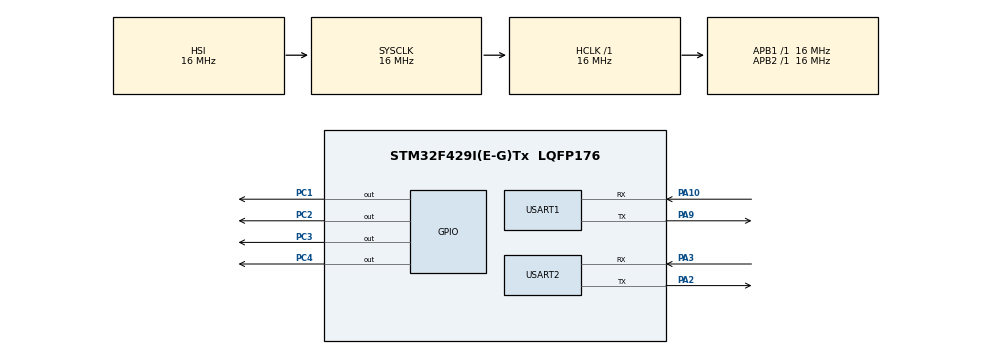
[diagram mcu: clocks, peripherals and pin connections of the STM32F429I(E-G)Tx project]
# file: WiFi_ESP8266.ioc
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Mcu.Family=STM32F4
Mcu.Name=STM32F429I(E-G)Tx
Mcu.Package=LQFP176
NVIC.PriorityGroup=NVIC_PRIORITYGROUP_4
NVIC.USART2_IRQn=true\:0\:0\:false\:false\:true\:true\:true
PA10.Mode=Asynchronous
PA10.Signal=USART1_RX
PA2.Mode=Asynchronous
PA2.Signal=USART2_TX
PA3.Mode=Asynchronous
PA3.Signal=USART2_RX
PA9.Mode=Asynchronous
PA9.Signal=USART1_TX
PC1.Signal=GPIO_Output
PC2.Signal=GPIO_Output
PC3.Signal=GPIO_Output
PC4.Signal=GPIO_Output
ProjectManager.HeapSize=0x200
ProjectManager.StackSize=0x400
ProjectManager.TargetToolchain=MDK-ARM V5.27
RCC.AHBFreq_Value=16000000
RCC.APB1Freq_Value=16000000
RCC.APB2Freq_Value=16000000
RCC.CortexFreq_Value=16000000
RCC.HSE_VALUE=25000000
RCC.HSI_VALUE=16000000
RCC.LSE_VALUE=32768
RCC.SYSCLKFreq_VALUE=16000000
RCC.VCOOutputFreq_Value=192000000
USART1.VirtualMode=VM_ASYNC
USART2.VirtualMode=VM_ASYNC
board=custom

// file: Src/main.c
/* USER CODE BEGIN Header */
/**
  ******************************************************************************
  * @file           : main.c
  * @brief          : Main program body
  ******************************************************************************
  * @attention
  *
  * <h2><center>&copy; Copyright (c) 2024 STMicroelectronics.
  * All rights reserved.</center></h2>
  *
  * This software component is licensed by ST under BSD 3-Clause license,
  * the "License"; You may not use this file except in compliance with the
  * License. You may obtain a copy of the License at:
  *                        opensource.org/licenses/BSD-3-Clause
  *
  ******************************************************************************
  */
/* USER CODE END Header */

#include "main.h"
#include "usart.h"
#include "gpio.h"

/* USER CODE BEGIN Includes */
#include <stdarg.h>
#include <stdio.h>
#include <string.h>

/* USER CODE END Includes */

/* USER CODE BEGIN PD */
#define MAX_TIMEOUT 10000
#define TIMEOUT 500 //200
#define RX_BUFFER_SIZE 512
/* USER CODE END PD */

/* USER CODE BEGIN PV */
/* 全局变量 */
uint8_t rxBuffer[RX_BUFFER_SIZE];
uint16_t rxIndex = 0;
uint8_t rxData;  // 用于接收单个字节

uint8_t dataReceived = 0;
/* USER CODE END PV */

void SystemClock_Config(void);
/* USER CODE BEGIN PFP */
void UART_Printf(const char *format, ...)	// 串口调试打印函数
{
    uint8_t tmp[128];

    va_list argptr;
    va_start(argptr, format);

    // 使用 vsnprintf 限制输出长度
    vsnprintf((char *)tmp, sizeof(tmp), format, argptr);

    va_end(argptr);

    // 发送数据
    HAL_UART_Transmit(&huart1, tmp, strlen((char *)tmp), HAL_MAX_DELAY);
}

// 发送AT指令并等待响应, 阻塞函数方式完成WiFi模块的初始化和测试工作
uint8_t ESP_SendATCommand(char* cmd, char* expected_response, uint32_t timeout)
{
    char response[256];
    HAL_UART_Transmit(&huart2, (uint8_t*)cmd, strlen(cmd), timeout);  // 发送AT指令
    HAL_UART_Receive(&huart2, (uint8_t*)response, sizeof(response) - 1, timeout);  // 接收响应

    if (strstr(response, expected_response) != NULL)
	{
        return 1;  // 成功
    }
	else
	{
        return 0;  // 失败
    }
}

/* 连接WiFi函数 */
uint8_t ESP_ConnectWiFi(char* ssid, char* password)
{
    char cmd[256];
    sprintf(cmd, "AT+CWJAP=\"%s\",\"%s\"\r\n", ssid, password);  // 生成连接WiFi的AT指令
    return ESP_SendATCommand(cmd, "OK", MAX_TIMEOUT);  // 发送命令并等待响应
}

/* 建立TCP连接函数 */
uint8_t ESP_ConnectServer(char* ip, int port)
{
    char cmd[256];
    sprintf(cmd, "AT+CIPSTART=\"TCP\",\"%s\",%d\r\n", ip, port);  // 生成TCP连接的AT指令
    return ESP_SendATCommand(cmd, "CONNECT", TIMEOUT);  // 发送命令并等待响应
}

/* 发送数据函数 */
/**
	这个函数首先发送 `AT+CIPSEND` 来告知ESP-01S要发送的数据长度，然后再发送实际的数据内容。最后检查ESP-01S是否返回`SEND OK`表示数据发送成功。
*/
uint8_t ESP_SendData(char* data)
{
    char cmd[64];
    sprintf(cmd, "AT+CIPSEND=%d\r\n", strlen(data));  // 生成发送数据长度的AT指令
    if (!ESP_SendATCommand(cmd, ">", TIMEOUT)) 	// 检查是否准备好发送数据
	{
        return 0;
    }
    HAL_UART_Transmit(&huart2, (uint8_t*)data, strlen(data), TIMEOUT);  // 发送实际数据
    return ESP_SendATCommand("", "SEND OK", TIMEOUT);  // 检查是否发送成功
}

void ESP_SendData_CIPMODE_1(char *data)
{
	// 关闭中断接收，改为阻塞模式
    HAL_UART_AbortReceive_IT(&huart2);

	HAL_UART_Transmit(&huart2, (uint8_t*)data, strlen(data), TIMEOUT);  // 发送实际数据

	// 重新开启中断接收
    HAL_UART_Receive_IT(&huart2, &rxData, 1);
}

uint8_t ESP_ReceiveData_CIPMODE_1(char *buffer, int buffer_size)
{
	char response[256] = { 0 }; // 临时存储接收的字符
    int index = 0;              // 字符数组索引
    HAL_StatusTypeDef status;
    uint8_t received_byte;

	// 循环读取每个字节，直到遇到结束符或达到缓冲区限制
    while (index < buffer_size - 1)
    {
        // 接收一个字节数据
        status = HAL_UART_Receive(&huart2, &received_byte, 1, 1000);

        if (status == HAL_OK)
        {
            // 将接收到的字节存入响应数组
            response[index++] = received_byte;

            // 检查是否为结束符（假设数据以换行符 '\n' 结束）
            if (received_byte == '\n')
            {
                break;
            }
        }
        else
        {
            // 接收超时或失败，打印调试信息并返回0
            UART_Printf("Failed to receive data\n");
            return 0;
        }
    }

    // 添加字符串结束符
    response[index] = '\0';

    // 打印调试信息，检查接收到的完整响应
    UART_Printf("Response: %s\n", response);

	return 1;
}

void HAL_UART_RxCpltCallback(UART_HandleTypeDef *huart)	// 串口中断 响应函数
{
	if(huart->Instance == USART2)
	{
        // 将接收到的字节放入接收缓冲区
        if (rxIndex < RX_BUFFER_SIZE - 1)
        {
            rxBuffer[rxIndex++] = rxData;

            // 如果接收到换行符或达到缓冲区上限，认为一个数据包完整
            if (rxData == '\n' || rxIndex == RX_BUFFER_SIZE - 1)
            {
                rxBuffer[rxIndex] = '\0';  // 添加字符串结束符
                dataReceived = 1;
                rxIndex = 0;  // 重置索引以便下一次接收
            }
        }
        else
        {
            // 防止溢出
            rxIndex = 0;
        }

        // 重新启动中断接收
        HAL_UART_Receive_IT(&huart2, &rxData, 1);
	}
}

/* 接受数据函数 */
void ESP_ReceiveData(char* buffer, int buffer_size)
{
//	HAL_UART_Receive_IT(&huart1, (uint8_t *)g_response, sizeof(g_response));
}

/* 关闭TCP连接函数 */
uint8_t ESP_CloseConnection()
{
    return ESP_SendATCommand("AT+CIPCLOSE\r\n", "CLOSED", TIMEOUT);
}
/* USER CODE END PFP */

int main(void)
{

  /* MCU Configuration--------------------------------------------------------*/

  /* Reset of all peripherals, Initializes the Flash interface and the Systick. */
  HAL_Init();

  /* Configure the system clock */
  SystemClock_Config();

  /* Initialize all configured peripherals */
  MX_GPIO_Init();
  MX_USART1_UART_Init();
  MX_USART2_UART_Init();
  /* USER CODE BEGIN 2 */

	/* 测试WiFi模块 */
	// 1. 设置ESP8266为STA + AP 模式
    if (ESP_SendATCommand("AT+CWMODE=1\r\n", "OK", TIMEOUT) == 0)
	{
		UART_Printf("WiFi AT+CWMODE=1 Failed!\n");
	}

	// 设置为非透传模式
	if (ESP_SendATCommand("AT+CIPMODE=0\r\n", "OK", TIMEOUT) == 0)
	{
		UART_Printf("Failed to set non-transparent mode\n");
	}

	// 2. 连接WiFi
    if (ESP_ConnectWiFi("Redmi K70", "ac12234567"))	// 电脑开启热点分享
	{
        UART_Printf("WiFi connected\n");
		HAL_GPIO_WritePin(GPIOC, GPIO_PIN_4, GPIO_PIN_SET);	// 亮绿灯, 表示WiFi模块成功连接网络
    }
	else
	{
        UART_Printf("WiFi connection failed\n");
    }

	// 3. 连接服务器
    if (ESP_ConnectServer("121.40.108.31", 8080)) 	// 连接
	{
        UART_Printf("Connected to server\n");
    }
	else
	{
        UART_Printf("Server connection failed\n");
    }

	// 4. 发送测试数据到服务器
    if (ESP_SendData("hello!!! I am ESP-01S"))
	{
        UART_Printf("'hello' sent successfully\n");
    }
	else
	{
        UART_Printf("'hello' send failed\n");
    }

	//是否开启透传模式  0：表示关闭 1：表示开启透传
	if (ESP_SendATCommand("AT+CIPMODE=1\r\n", "OK", TIMEOUT))
	{
		UART_Printf("AT+CIPMODE=1 OK");
	}
	else
	{
		UART_Printf("AT+CIPMODE=1 Failed");
	}

	//透传模式下 开始发送数据的指令 这个指令之后就可以直接发数据了
	if (ESP_SendATCommand("AT+CIPSEND\r\n", "OK", TIMEOUT))
	{
		UART_Printf("AT+CIPSEND, OK");
	}
	else
	{
		UART_Printf("AT+CIPSEND, Failed");
	}

  /* USER CODE END 2 */

  /* Infinite loop */
  /* USER CODE BEGIN WHILE */
  while (1)
  {
//		HAL_GPIO_WritePin(GPIOC, GPIO_PIN_1, GPIO_PIN_RESET);
//	  	if (!ESP_SendData("Are you OK?"))	// 发送采集数据信息给服务器 (非透传模式)
//		{
//			UART_Printf("Data send Failed!\n");
//		}
//
		ESP_SendData_CIPMODE_1("Are you OK?");
		HAL_Delay(1000);
		if (dataReceived)
		{
			dataReceived = 0;
			UART_Printf((char *)rxBuffer);
		}

//		ESP_ReceiveData(buffer, sizeof(buffer));

    /* USER CODE END WHILE */

  }
}

void SystemClock_Config(void)
{
  RCC_OscInitTypeDef RCC_OscInitStruct = {0};
  RCC_ClkInitTypeDef RCC_ClkInitStruct = {0};

  /** Configure the main internal regulator output voltage
  */
  __HAL_RCC_PWR_CLK_ENABLE();
  __HAL_PWR_VOLTAGESCALING_CONFIG(PWR_REGULATOR_VOLTAGE_SCALE3);
  /** Initializes the CPU, AHB and APB busses clocks
  */
  RCC_OscInitStruct.OscillatorType = RCC_OSCILLATORTYPE_HSI;
  RCC_OscInitStruct.HSIState = RCC_HSI_ON;
  RCC_OscInitStruct.HSICalibrationValue = RCC_HSICALIBRATION_DEFAULT;
  RCC_OscInitStruct.PLL.PLLState = RCC_PLL_NONE;
  if (HAL_RCC_OscConfig(&RCC_OscInitStruct) != HAL_OK)
  {
    Error_Handler();
  }
  /** Initializes the CPU, AHB and APB busses clocks
  */
  RCC_ClkInitStruct.ClockType = RCC_CLOCKTYPE_HCLK|RCC_CLOCKTYPE_SYSCLK
                              |RCC_CLOCKTYPE_PCLK1|RCC_CLOCKTYPE_PCLK2;
  RCC_ClkInitStruct.SYSCLKSource = RCC_SYSCLKSOURCE_HSI;
  RCC_ClkInitStruct.AHBCLKDivider = RCC_SYSCLK_DIV1;
  RCC_ClkInitStruct.APB1CLKDivider = RCC_HCLK_DIV1;
  RCC_ClkInitStruct.APB2CLKDivider = RCC_HCLK_DIV1;

  if (HAL_RCC_ClockConfig(&RCC_ClkInitStruct, FLASH_LATENCY_0) != HAL_OK)
  {
    Error_Handler();
  }
}

void Error_Handler(void)
{
}

/************************ (C) COPYRIGHT STMicroelectronics *****END OF FILE****/
